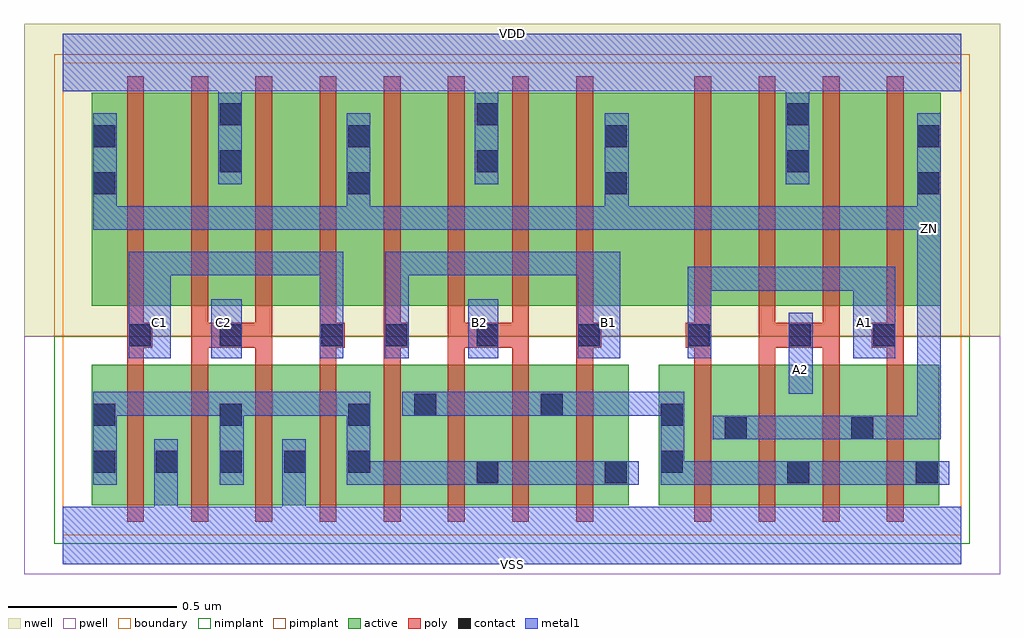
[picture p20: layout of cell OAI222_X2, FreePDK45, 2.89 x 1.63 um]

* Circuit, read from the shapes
.subckt OAI222_X2 A1 A2 B1 B2 C1 C2 VDD VSS ZN
M1 VSS C1 n1 VSUBS nfet w=0.415u l=0.05u m=2
M2 n1 C2 VSS VSUBS nfet w=0.415u l=0.05u m=2
M3 n2 B1 n1 VSUBS nfet w=0.415u l=0.05u m=2
M4 n1 B2 n2 VSUBS nfet w=0.415u l=0.05u m=2
M5 ZN A1 n2 VSUBS nfet w=0.415u l=0.05u m=2
M6 n2 A2 ZN VSUBS nfet w=0.415u l=0.05u m=2
M7 n3 C1 ZN n4 pfet w=0.63u l=0.05u
M8 VDD C2 n3 n4 pfet w=0.63u l=0.05u
M9 n5 C2 VDD n4 pfet w=0.63u l=0.05u
M10 ZN C1 n5 n4 pfet w=0.63u l=0.05u
M11 n6 B1 ZN n4 pfet w=0.63u l=0.05u
M12 VDD B2 n6 n4 pfet w=0.63u l=0.05u
M13 n7 B2 VDD n4 pfet w=0.63u l=0.05u
M14 ZN B1 n7 n4 pfet w=0.63u l=0.05u
M15 n8 A1 ZN n4 pfet w=0.63u l=0.05u
M16 VDD A2 n8 n4 pfet w=0.63u l=0.05u
M17 n9 A2 VDD n4 pfet w=0.63u l=0.05u
M18 ZN A1 n9 n4 pfet w=0.63u l=0.05u
.ends

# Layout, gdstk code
import gdstk
lib = gdstk.Library(unit=1e-6, precision=5e-10)
def R(c, l, rs):  # rectangles x0, y0, x1, y1
    for r in rs: c.add(gdstk.rectangle(r[:2], r[2:], *l))
def A(c, l, x, y, w, h, nx, ny, dx, dy):  # array of equal rectangles
    R(c, l, [(x+i*dx, y+j*dy, x+i*dx+w, y+j*dy+h) for i in range(nx) for j in range(ny)])
def P(c, l, *ps):  # polygons
    for p in ps: c.add(gdstk.Polygon(p, *l))
active = (1, 0)
pwell = (2, 0)
nwell = (3, 0)
nimplant = (4, 0)
pimplant = (5, 0)
poly = (9, 0)
contact = (10, 0)
metal1 = (11, 0)
boundary = (235, 0)

oai222_x2 = lib.new_cell('OAI222_X2')
R(oai222_x2, active, [(0.085,0.09,1.675,0.505), (1.765,0.09,2.595,0.505), (0.085,0.68,2.6,1.31)])
R(oai222_x2, pwell, [(-0.115,-0.115,2.775,0.59)])
R(oai222_x2, nwell, [(-0.115,0.59,2.775,1.515)])
R(oai222_x2, nimplant, [(-0.025,-0.025,2.685,0.59)])
R(oai222_x2, pimplant, [(-0.025,0.59,2.685,1.425)])
P(oai222_x2, poly, [(2.395,0.555),(2.44,0.555),(2.44,0.04),(2.49,0.04),(2.49,1.36),(2.44,1.36),(2.44,0.63),(2.395,0.63)],
  [(2.06,0.04),(2.11,0.04),(2.11,0.555),(2.25,0.555),(2.25,0.04),(2.3,0.04),(2.3,1.36),(2.25,1.36),(2.25,0.63),(2.11,0.63),(2.11,1.36),(2.06,1.36)],
  [(1.845,0.555),(1.87,0.555),(1.87,0.04),(1.92,0.04),(1.92,1.36),(1.87,1.36),(1.87,0.63),(1.845,0.63)],
  [(1.52,0.04),(1.57,0.04),(1.57,0.555),(1.595,0.555),(1.595,0.63),(1.57,0.63),(1.57,1.36),(1.52,1.36)],
  [(1.14,0.04),(1.19,0.04),(1.19,0.555),(1.33,0.555),(1.33,0.04),(1.38,0.04),(1.38,1.36),(1.33,1.36),(1.33,0.63),(1.19,0.63),(1.19,1.36),(1.14,1.36)],
  [(0.95,0.04),(1,0.04),(1,0.555),(1.025,0.555),(1.025,0.63),(1,0.63),(1,1.36),(0.95,1.36)],
  [(0.76,0.04),(0.81,0.04),(0.81,0.555),(0.835,0.555),(0.835,0.63),(0.81,0.63),(0.81,1.36),(0.76,1.36)],
  [(0.38,0.04),(0.43,0.04),(0.43,0.555),(0.57,0.555),(0.57,0.04),(0.62,0.04),(0.62,1.36),(0.57,1.36),(0.57,0.63),(0.43,0.63),(0.43,1.36),(0.38,1.36)],
  [(0.19,0.04),(0.24,0.04),(0.24,0.555),(0.265,0.555),(0.265,0.63),(0.24,0.63),(0.24,1.36),(0.19,1.36)])
A(oai222_x2, contact, 0.275, 0.185, 0.065, 0.065, 4, 1, 0.19, 0)
R(oai222_x2, contact, [(1.225,0.155,1.29,0.22), (1.605,0.155,1.67,0.22), (2.145,0.155,2.21,0.22), (2.525,0.155,2.59,0.22), (0.09,0.185,0.155,0.25), (1.77,0.185,1.835,0.25), (1.96,0.285,2.025,0.35), (2.335,0.285,2.4,0.35), (0.09,0.325,0.155,0.39), (0.465,0.325,0.53,0.39), (0.845,0.325,0.91,0.39), (1.77,0.325,1.835,0.39), (1.04,0.355,1.105,0.42), (1.415,0.355,1.48,0.42), (0.195,0.56,0.26,0.625), (0.465,0.56,0.53,0.625), (0.765,0.56,0.83,0.625), (0.955,0.56,1.02,0.625), (1.225,0.56,1.29,0.625), (1.525,0.56,1.59,0.625), (1.85,0.56,1.915,0.625), (2.15,0.56,2.215,0.625), (2.4,0.56,2.465,0.625), (0.09,1.01,0.155,1.075), (0.845,1.01,0.91,1.075), (1.605,1.01,1.67,1.075), (2.53,1.01,2.595,1.075), (0.465,1.075,0.53,1.14), (1.225,1.075,1.29,1.14), (2.145,1.075,2.21,1.14), (0.09,1.15,0.155,1.215), (0.845,1.15,0.91,1.215), (1.605,1.15,1.67,1.215), (2.53,1.15,2.595,1.215), (0.465,1.215,0.53,1.28), (1.225,1.215,1.29,1.28), (2.145,1.215,2.21,1.28)])
R(oai222_x2, metal1, [(2.15,0.42,2.22,0.66), (2.15,0.42,2.22,0.66), (0.44,0.525,0.53,0.7), (0.44,0.525,0.53,0.7), (1.2,0.525,1.29,0.7), (1.2,0.525,1.29,0.7)])
P(oai222_x2, metal1, [(0,-0.085),(2.66,-0.085),(2.66,0.085),(0.72,0.085),(0.72,0.285),(0.65,0.285),(0.65,0.085),(0.34,0.085),(0.34,0.285),(0.27,0.285),(0.27,0.085),(0,0.085)],
  [(0,1.315),(0.46,1.315),(0.46,1.04),(0.53,1.04),(0.53,1.315),(1.22,1.315),(1.22,1.04),(1.29,1.04),(1.29,1.315),(2.14,1.315),(2.14,1.04),(2.21,1.04),(2.21,1.315),(2.66,1.315),(2.66,1.485),(0,1.485)],
  [(0.09,0.905),(2.53,0.905),(2.53,0.355),(1.925,0.355),(1.925,0.285),(2.6,0.285),(2.6,1.25),(2.53,1.25),(2.53,0.975),(1.675,0.975),(1.675,1.25),(1.605,1.25),(1.605,0.975),(0.91,0.975),(0.91,1.25),(0.84,1.25),(0.84,0.975),(0.16,0.975),(0.16,1.25),(0.09,1.25)],
  [(0.195,0.525),(0.32,0.525),(0.32,0.77),(0.76,0.77),(0.76,0.525),(0.83,0.525),(0.83,0.84),(0.195,0.84)],
  [(0.955,0.525),(1.025,0.525),(1.025,0.77),(1.525,0.77),(1.525,0.525),(1.65,0.525),(1.65,0.84),(0.955,0.84)],
  [(1.85,0.525),(1.92,0.525),(1.92,0.725),(2.34,0.725),(2.34,0.525),(2.465,0.525),(2.465,0.795),(1.85,0.795)],
  [(0,1.315),(0.46,1.315),(0.46,1.04),(0.53,1.04),(0.53,1.315),(1.22,1.315),(1.22,1.04),(1.29,1.04),(1.29,1.315),(2.14,1.315),(2.14,1.04),(2.21,1.04),(2.21,1.315),(2.66,1.315),(2.66,1.485),(0,1.485)],
  [(0,-0.085),(2.66,-0.085),(2.66,0.085),(0.72,0.085),(0.72,0.285),(0.65,0.285),(0.65,0.085),(0.34,0.085),(0.34,0.285),(0.27,0.285),(0.27,0.085),(0,0.085)],
  [(1.005,0.355),(1.77,0.355),(1.77,0.15),(2.625,0.15),(2.625,0.22),(1.84,0.22),(1.84,0.425),(1.005,0.425)],
  [(0.09,0.905),(2.53,0.905),(2.53,0.355),(1.925,0.355),(1.925,0.285),(2.6,0.285),(2.6,1.25),(2.53,1.25),(2.53,0.975),(1.675,0.975),(1.675,1.25),(1.605,1.25),(1.605,0.975),(0.91,0.975),(0.91,1.25),(0.84,1.25),(0.84,0.975),(0.16,0.975),(0.16,1.25),(0.09,1.25)],
  [(1.85,0.525),(1.92,0.525),(1.92,0.725),(2.34,0.725),(2.34,0.525),(2.465,0.525),(2.465,0.795),(1.85,0.795)],
  [(0.09,0.15),(0.16,0.15),(0.16,0.355),(0.465,0.355),(0.465,0.15),(0.535,0.15),(0.535,0.355),(0.84,0.355),(0.84,0.15),(1.705,0.15),(1.705,0.22),(0.91,0.22),(0.91,0.425),(0.09,0.425)],
  [(0.955,0.525),(1.025,0.525),(1.025,0.77),(1.525,0.77),(1.525,0.525),(1.65,0.525),(1.65,0.84),(0.955,0.84)],
  [(0.195,0.525),(0.32,0.525),(0.32,0.77),(0.76,0.77),(0.76,0.525),(0.83,0.525),(0.83,0.84),(0.195,0.84)])
R(oai222_x2, boundary, [(0,0,2.66,1.4)])
oai222_x2.add(gdstk.Label('ZN', (2.565,0.91), layer=11, texttype=0))
oai222_x2.add(gdstk.Label('VSS', (1.33,-0.085), layer=11, texttype=0))
oai222_x2.add(gdstk.Label('VDD', (1.33,1.485), layer=11, texttype=0))
oai222_x2.add(gdstk.Label('C2', (0.475,0.63), layer=11, texttype=0))
oai222_x2.add(gdstk.Label('C1', (0.285,0.63), layer=11, texttype=0))
oai222_x2.add(gdstk.Label('B2', (1.235,0.63), layer=11, texttype=0))
oai222_x2.add(gdstk.Label('B1', (1.615,0.63), layer=11, texttype=0))
oai222_x2.add(gdstk.Label('A2', (2.185,0.49), layer=11, texttype=0))
oai222_x2.add(gdstk.Label('A1', (2.375,0.63), layer=11, texttype=0))

lib.write_gds('OAI222_X2.gds')
